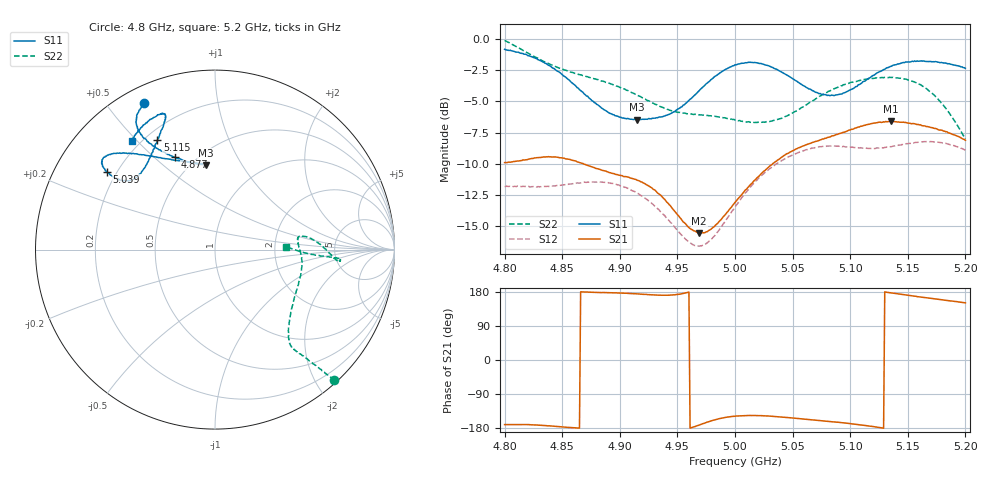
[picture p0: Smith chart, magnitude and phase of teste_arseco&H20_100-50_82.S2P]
! Network Analyzer HP8722D
! Hewlett-Packard
! Data name: Linha & Wilkinson
! Saver's name: Rodrigo Anjos
! Comments: Teste da utilização de aquisição
! continua pelo VNA HP8722D
! Time and date: 6/5/2025 13:15
!  Frequency  S11  S21  S12  S22
# HZ  S  MA R 50
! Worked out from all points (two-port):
!   401 points, 4.8 GHz to 5.2 GHz, reference 50 ohm
!   highest |S21| = -6.61 dB at 5.135 GHz (marker M1); lowest = -15.5 dB at 4.969 GHz (marker M2)
!   |S21| within 3 dB of the highest: 4.822 GHz to 4.853 GHz (31.24 MHz wide, 0.646 % of centre); 5.039 GHz to end of sweep
!   lowest |S11| = -6.5 dB at 4.915 GHz (marker M3), VSWR 2.81, Z = 29.1 + j35.5 ohm
!   |S11| at or under -10 dB: nowhere
!   |S22| runs from -8.0 to -0.1 dB; largest |S21 - S12| = 0.83
!   S11 on the Smith chart (normalised r, x): 4.8 GHz: 0.07, +0.62; 4.877 GHz: 0.39, +0.58; 5.039 GHz: 0.16, +0.32; 5.115 GHz: 0.25, +0.58; 5.2 GHz: 0.17, +0.48
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4.8e9  0.9073 115.8  0.3197 -170.5  0.2564 -86.1  0.9846 -47.6
4.819e9  0.8645 120.3  0.3285 -170.5  0.2557 -81.9  0.8828 -48.7
4.835e9  0.7991 122.5  0.3366 -173.0  0.2566 -76.6  0.808 -49.8
4.867e9  0.6158 117.9  0.3179 179.8  0.2657 -67.3  0.7159 -51.5
4.877e9  0.5618 113.5  0.3062 178.6  0.2675 -66.2  0.6936 -51.8
4.9e9  0.4855 101.2  0.2845 176.7  0.2587 -66.5  0.639 -50.2
4.915e9  0.4749 96.4  0.2718 174.4  0.2414 -68.3  0.5947 -46.4
4.934e9  0.4862 99.1  0.2394 171.1  0.2073 -69.4  0.5383 -37.5
4.948e9  0.5132 107.8  0.2033 172.2  0.1757 -66.6  0.511 -28.4
4.969e9  0.6204 123.4  0.1671 -171.6  0.1481 -47.9  0.4965 -15.0
4.981e9  0.6964 130.0  0.1761 -159.1  0.1608 -34.0  0.4899 -8.9
5e9  0.7864 137.3  0.2211 -148.5  0.2125 -21.4  0.4732 -0.3
5.018e9  0.8028 141.7  0.274 -146.4  0.2697 -18.3  0.4629 5.8
5.039e9  0.7422 144.2  0.3316 -150.0  0.3217 -18.3  0.4789 8.9
5.067e9  0.6209 141.9  0.3846 -158.1  0.3656 -20.6  0.5619 4.6
5.088e9  0.5964 133.2  0.4142 -163.9  0.3719 -23.7  0.6367 -1.8
5.115e9  0.6897 117.7  0.4538 -173.6  0.3644 -26.7  0.6901 -5.4
5.134e9  0.7716 111.2  0.4665 177.9  0.3692 -28.8  0.7011 -5.0
5.135e9  0.7751 111.1  0.4673 177.4  0.3701 -28.8  0.7009 -4.7
5.162e9  0.8156 112.9  0.4498 165.8  0.3871 -35.4  0.651 -3.8
5.18e9  0.802 118.8  0.4301 158.9  0.3835 -40.9  0.5495 -2.9
5.2e9  0.762 127.4  0.3925 150.8  0.3583 -46.4  0.3969 2.4
